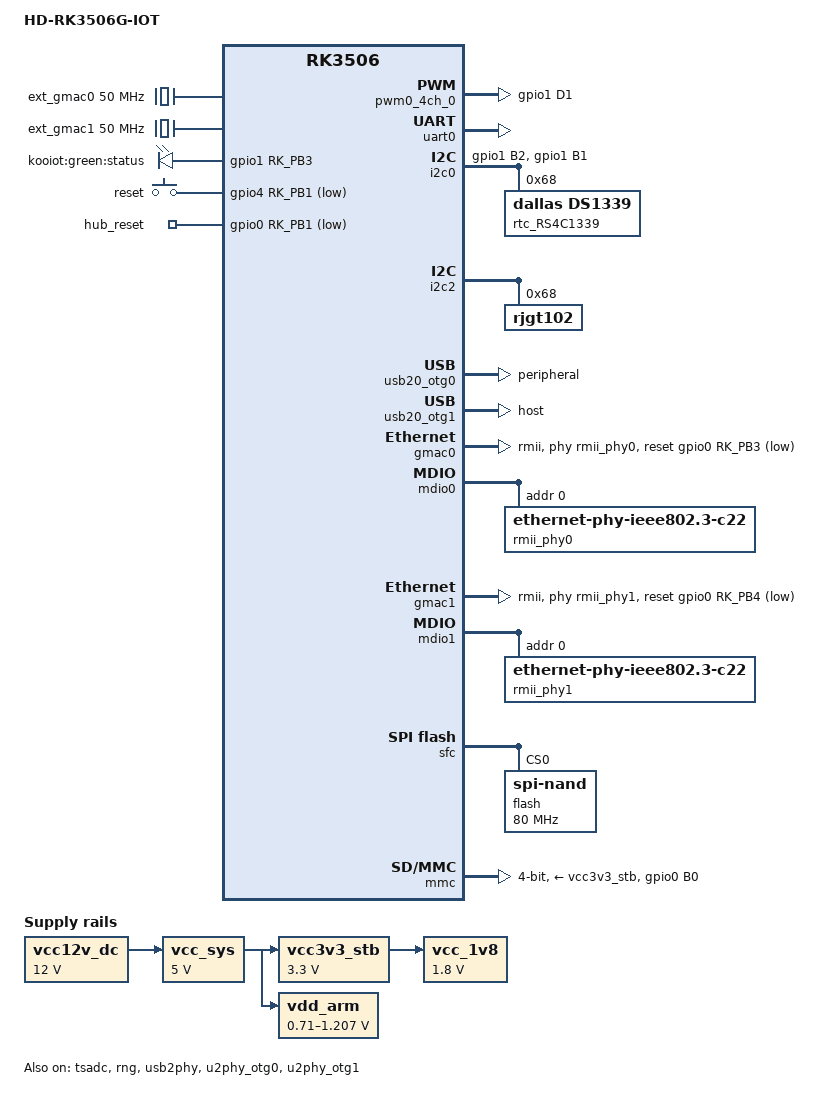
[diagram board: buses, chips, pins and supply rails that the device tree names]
// SPDX-License-Identifier: (GPL-2.0+ OR MIT)
/*
 * Copyright (c) 2026 KooIoT.com
 */

/dts-v1/;

#include <dt-bindings/input/input.h>
#include "rk3506.dtsi"

/ {
	model = "HD-RK3506G-IOT";
	compatible = "vanxoak,vx-hd-rk3506g-iot", "rockchip,rk3506";
	chosen: chosen {
		stdout-path = "serial0:115200n8";
	};

	/* PSCI is provided by the Rockchip OP-TEE secure monitor.
	 * Linux brings up secondary CPUs via PSCI SMC calls. */

	aliases {
		serial0 = &uart0;
		serial1 = &uart1;
		serial2 = &uart2;
		serial3 = &uart3;
		ethernet0 = &gmac0;
		ethernet1 = &gmac1;
		i2c0 = &i2c0;
		i2c2 = &i2c2;
		spi0 = &sfc;
	};

	chosen {
		stdout-path = &uart0;
	};

	pwm0_4ch_0: pwm@ff930000 {
		compatible = "rockchip,rk3506-pwm", "rockchip,rk3576-pwm";
		reg = <0xff930000 0x200>;
		interrupts = <GIC_SPI 22 IRQ_TYPE_LEVEL_HIGH>;
		clocks = <&cru CLK_PWM0>, <&cru PCLK_PWM0>, <&cru CLK_OSC_PWM0>;
		clock-names = "pwm", "pclk", "osc";
		#pwm-cells = <3>;
		status = "disabled";
	};

	vcc12v_dc: vcc12v-dc {
		compatible = "regulator-fixed";
		regulator-name = "vcc12v_dc";
		regulator-always-on;
		regulator-boot-on;
		regulator-min-microvolt = <12000000>;
		regulator-max-microvolt = <12000000>;
	};

	vcc_sys: vcc-sys {
		compatible = "regulator-fixed";
		regulator-name = "vcc_sys";
		regulator-always-on;
		regulator-boot-on;
		regulator-min-microvolt = <5000000>;
		regulator-max-microvolt = <5000000>;
		vin-supply = <&vcc12v_dc>;
	};

	vcc3v3_stb: vcc3v3-stb {
		compatible = "regulator-fixed";
		regulator-name = "vcc3v3_stb";
		regulator-always-on;
		regulator-boot-on;
		regulator-min-microvolt = <3300000>;
		regulator-max-microvolt = <3300000>;
		vin-supply = <&vcc_sys>;
	};

	vcc_1v8: vcc-1v8 {
		compatible = "regulator-fixed";
		regulator-name = "vcc_1v8";
		regulator-always-on;
		regulator-boot-on;
		regulator-min-microvolt = <1800000>;
		regulator-max-microvolt = <1800000>;
		vin-supply = <&vcc3v3_stb>;
	};

	vdd_arm: vdd-arm {
		compatible = "pwm-regulator";
		pwms = <&pwm0_4ch_0 0 5000 1>;
		regulator-name = "vdd_arm";
		regulator-min-microvolt = <710000>;
		regulator-max-microvolt = <1207000>;
		regulator-init-microvolt = <1011000>;
		regulator-always-on;
		regulator-boot-on;
		regulator-settling-time-up-us = <250>;
		vin-supply = <&vcc_sys>;
	};

	ext_gmac0: external-gmac-clock-0 {
		compatible = "fixed-clock";
		#clock-cells = <0>;
		clock-frequency = <50000000>;
		clock-output-names = "ext_gmac_0";
	};

	ext_gmac1: external-gmac-clock-1 {
		compatible = "fixed-clock";
		#clock-cells = <0>;
		clock-frequency = <50000000>;
		clock-output-names = "ext_gmac_1";
	};

	leds: leds {
		compatible = "gpio-leds";
		status = "okay";

		status_led: status-led {
			label = "kooiot:green:status";
			gpios = <&gpio1 RK_PB3 GPIO_ACTIVE_HIGH>;
			linux,default-trigger = "heartbeat";
		};
	};

	gpio_keys {
		compatible = "gpio-keys";
		pinctrl-names = "default";
		pinctrl-0 = <&key_reset_pin>;

		reset {
			label = "reset";
			linux,code = <KEY_RESTART>;
			gpios = <&gpio4 RK_PB1 GPIO_ACTIVE_LOW>;
		};
	};
	
	gpio_export {
		compatible = "gpio-export";
		#size-cells = <0>;

		hub_reset {
			gpio-export,name = "hub_reset";
			gpio-export,output=<1>;
			gpios = <&gpio0 RK_PB1 GPIO_ACTIVE_LOW>;
			pinctrl-names = "default";
			pinctrl-0 = <&hub_reset_pin>;
		};
	};
};

&tsadc {
	status = "okay";
};

&uart0 {
	status = "okay";
};

&uart1 {
	status = "disabled";
};

&uart2 {
	status = "disabled";
};

&uart3 {
	status = "disabled";
};

&i2c0 {
	status = "okay";
	pinctrl-names = "default";
	pinctrl-0 = <&rm_io25_i2c0_scl &rm_io24_i2c0_sda>;

	rtc_RS4C1339: rtc@68 {
		compatible = "dallas,ds1339";
		reg = <0x68>;
		status = "okay";
	};
};

&i2c2 {
	status = "okay";
	pinctrl-names = "default";
	pinctrl-0 = <&rm_io4_i2c2_scl &rm_io5_i2c2_sda>;

	rjgt102: crypt@68 {
		compatible = "rjgt102";
		reg = <0x68>;
		status = "okay";
	};
};

&rng {
	status = "okay";
};

&sai1 {
	status = "disabled";
};

&usb2phy {
	status = "okay";
};

&u2phy_otg0 {
	status = "okay";
};

&u2phy_otg1 {
	status = "okay";
};

&usb20_otg0 {
	dr_mode = "peripheral";
	status = "okay";
};

&usb20_otg1 {
	dr_mode = "host";
	status = "okay";
};

&gmac0 {
	phy-mode = "rmii";
	clock_in_out = "input";

	snps,reset-gpio = <&gpio0 RK_PB3 GPIO_ACTIVE_LOW>;
	snps,reset-active-low;
	snps,reset-delays-us = <0 20000 100000>;

	// assigned-clocks = <&cru CLK_MAC0_PTP>;
	// assigned-clock-parents = <&ext_gmac0>;

	pinctrl-names = "default";
	pinctrl-0 = <&eth_rmii0_miim_pins
				 &eth_rmii0_tx_bus2_pins
				 &eth_rmii0_rx_bus2_pins
				 &eth_rmii0_clk_pins>;

	phy-handle = <&rmii_phy0>;

	status = "okay";
};

&mdio0 {
	rmii_phy0: phy@0 {
		compatible = "ethernet-phy-ieee802.3-c22";
		motorcomm,led0 = <0x30>;
		motorcomm,led1 = <0x331>;
		reg = <0x0>;
	};
};

&gmac1 {
	phy-mode = "rmii";
	clock_in_out = "input";

	snps,reset-gpio = <&gpio0 RK_PB4 GPIO_ACTIVE_LOW>;
	snps,reset-active-low;
	snps,reset-delays-us = <0 20000 100000>;

	// assigned-clocks = <&cru CLK_MAC1_PTP>;
	// assigned-clock-parents = <&ext_gmac1>;

	pinctrl-names = "default";
	pinctrl-0 = <&eth_rmii1_miim_pins
				 &eth_rmii1_tx_bus2_pins
				 &eth_rmii1_rx_bus2_pins
				 &eth_rmii1_clk_pins>;

	phy-handle = <&rmii_phy1>;
	status = "okay";
};

&mdio1 {
	rmii_phy1: phy@0 {
		compatible = "ethernet-phy-ieee802.3-c22";
		motorcomm,led0 = <0x30>;
		motorcomm,led1 = <0x331>;
		reg = <0x0>;
	};
};

&pwm0_4ch_0 {
	pinctrl-names = "active";
	pinctrl-0 = <&rm_io29_pwm0_ch2>;
	status = "okay";
};

&sfc {
	status = "okay";
	flash: spinand@0 {
		compatible = "spi-nand";
		reg = <0>;
		spi-max-frequency = <80000000>;
		spi-rx-bus-width = <4>;
		spi-tx-bus-width = <1>;
	};
};

&mmc {
	bus-width = <4>;
	cs-gpios = <&gpio0 RK_PB0 GPIO_ACTIVE_LOW>;
	cap-sd-highspeed;
	disable-wp;
	no-sdio;
	no-mmc;
	no-1-8-v;
	pinctrl-names = "default";
	pinctrl-0 = <&sdmmc_clk_pins &sdmmc_cmd_pins &sdmmc_bus4_pins &sdmmc_det_pins>;
	vmmc-supply = <&vcc3v3_stb>;
	vqmmc-supply = <&vcc3v3_stb>;
	status = "okay";
};

&pinctrl {
	headphone {
		hp_det: hp-det {
			rockchip,pins = <1 RK_PA6 RK_FUNC_GPIO &pcfg_pull_none>;
		};
	};
	keys {
		key_reset_pin: key-reset-pin {
			rockchip,pins = <4 RK_PB1 RK_FUNC_GPIO &pcfg_pull_up>;
		};
	};
	usb {
		vcc5v0_otg0_en: vcc5v0-otg0-en {
			rockchip,pins = <1 RK_PA2 RK_FUNC_GPIO &pcfg_pull_none>;
		};
		vcc5v0_otg1_en: vcc5v0-otg1-en {
			rockchip,pins = <1 RK_PA1 RK_FUNC_GPIO &pcfg_pull_none>;
		};
		hub_reset_pin: hub-reset-pin {
			rockchip,pins = <0 RK_PB1 RK_FUNC_GPIO &pcfg_pull_none>;
		};
	};
	i2c0 {
		/omit-if-no-ref/
		rm_io25_i2c0_scl: rm-io25-i2c0-scl {
			rockchip,pins =
				<1 RK_PB2 30 &pcfg_pull_none>;
		};

		/omit-if-no-ref/
		rm_io24_i2c0_sda: rm-io24-i2c0-sda {
			rockchip,pins =
				<1 RK_PB1 31 &pcfg_pull_none>;
		};
	};
	pwm {
		/omit-if-no-ref/
		rm_io29_pwm0_ch2: rm-io29-pwm0-ch2 {
			rockchip,pins =
				<1 RK_PD1 47 &pcfg_pull_none_drv_level_1>;
		};
	};
	sdmmc_det {
		/omit-if-no-ref/
		sdmmc_det_pins: sdmmc-det-pins {
			rockchip,pins =
				/* sdmmc_det */
				<0 RK_PB0 1 &pcfg_pull_up_drv_level_3>;
		};
	};

	/omit-if-no-ref/
	pcfg_pull_up_drv_level_3: pcfg-pull-up-drv-level-3 {
		bias-pull-up;
		drive-strength = <3>;
	};

	/omit-if-no-ref/
	pcfg_pull_none_drv_level_1: pcfg-pull-none-drv-level-1 {
		bias-disable;
		drive-strength = <1>;
	};
};

